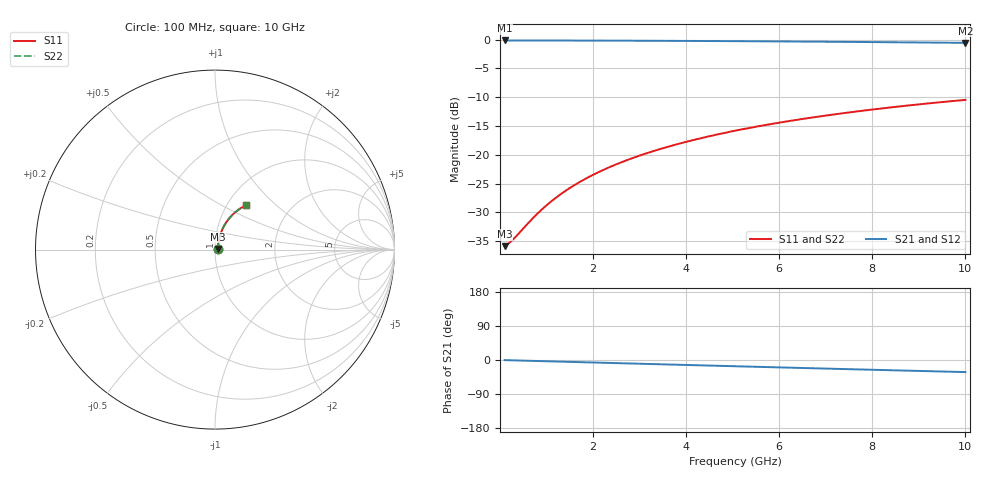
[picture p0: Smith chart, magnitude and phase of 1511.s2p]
# Hz S RI R 50.00
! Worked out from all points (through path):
!   100 points, 100 MHz to 10 GHz, reference 50 ohm
!   highest |S21| = -0.14 dB at 100 MHz (marker M1); lowest = -0.6 dB at 10 GHz (marker M2)
!   group delay of S21, straight-line fit = 8.87 ps
!   lowest |S11| = -35.9 dB at 100 MHz (marker M3), VSWR 1.03, Z = 51.6 + j0.327 ohm
!   |S11| at or under -10 dB: start of sweep to end of sweep
!   |S22| runs from -35.9 to -10.5 dB; largest |S21 - S12| = 0
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1e8  0.0158 0.00317  0.9842 -0.00565  0.9842 -0.00565  0.0158 0.00317
2e8  0.0159 0.00634  0.9841 -0.0113  0.9841 -0.0113  0.0159 0.00634
3e8  0.0161 0.0095  0.9839 -0.0169  0.9839 -0.0169  0.0161 0.0095
7e8  0.017 0.0221  0.9828 -0.0395  0.9828 -0.0395  0.017 0.0221
8e8  0.0173 0.0253  0.9825 -0.0451  0.9825 -0.0451  0.0173 0.0253
1e9  0.018 0.0316  0.9816 -0.0564  0.9816 -0.0564  0.018 0.0316
1.2e9  0.0189 0.0378  0.9806 -0.0676  0.9806 -0.0676  0.0189 0.0378
1.4e9  0.0199 0.0441  0.9795 -0.0788  0.9795 -0.0788  0.0199 0.0441
1.6e9  0.021 0.0503  0.9781 -0.09  0.9781 -0.09  0.021 0.0503
1.8e9  0.0223 0.0565  0.9767 -0.1012  0.9767 -0.1012  0.0223 0.0565
2.1e9  0.0245 0.0657  0.9741 -0.1178  0.9741 -0.1178  0.0245 0.0657
2.5e9  0.0278 0.0778  0.9702 -0.1399  0.9702 -0.1399  0.0278 0.0778
2.9e9  0.0317 0.0897  0.9656 -0.1618  0.9656 -0.1618  0.0317 0.0897
3.4e9  0.0373 0.1044  0.959 -0.1888  0.959 -0.1888  0.0373 0.1044
3.8e9  0.0424 0.1158  0.953 -0.2102  0.953 -0.2102  0.0424 0.1158
4.2e9  0.048 0.1269  0.9465 -0.2312  0.9465 -0.2312  0.048 0.1269
5.1e9  0.0622 0.1508  0.9296 -0.2776  0.9296 -0.2776  0.0622 0.1508
5.9e9  0.0767 0.1706  0.9123 -0.3173  0.9123 -0.3173  0.0767 0.1706
6.7e9  0.0927 0.1889  0.893 -0.3556  0.893 -0.3556  0.0927 0.1889
7.5e9  0.1102 0.2056  0.872 -0.3922  0.872 -0.3922  0.1102 0.2056
8.4e9  0.1312 0.2222  0.8463 -0.4314  0.8463 -0.4314  0.1312 0.2222
1e10  0.1714 0.246  0.7965 -0.4954  0.7965 -0.4954  0.1714 0.246
